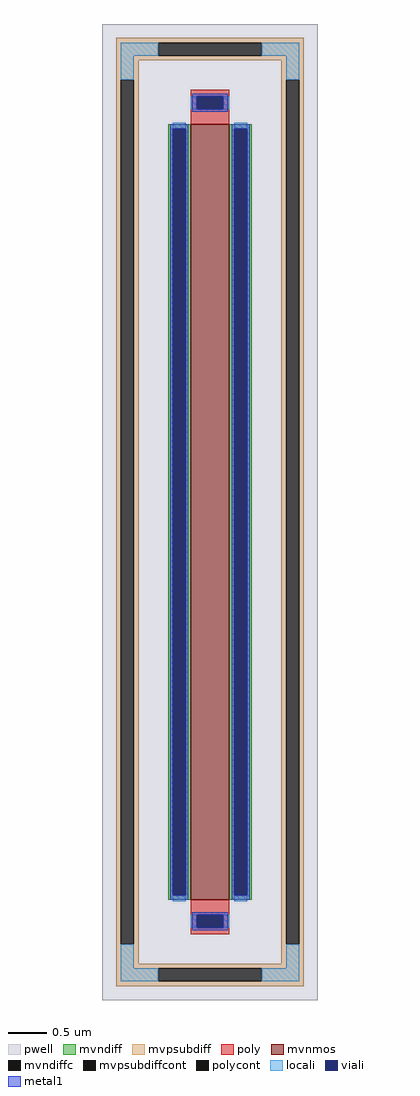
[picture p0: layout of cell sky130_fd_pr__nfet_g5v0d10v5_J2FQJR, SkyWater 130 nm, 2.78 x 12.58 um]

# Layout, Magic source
magic
tech sky130A
<< pwell >>
rect -139 -629 139 629
<< mvnmos >>
rect -25 -500 25 500
<< mvndiff >>
rect -54 494 -25 500
rect -54 -494 -48 494
rect -31 -494 -25 494
rect -54 -500 -25 -494
rect 25 494 54 500
rect 25 -494 31 494
rect 48 -494 54 494
rect 25 -500 54 -494
<< mvndiffc >>
rect -48 -494 -31 494
rect 31 -494 48 494
<< mvpsubdiff >>
rect -121 605 121 611
rect -121 588 -67 605
rect 67 588 121 605
rect -121 582 121 588
rect -121 557 -92 582
rect -121 -557 -115 557
rect -98 -557 -92 557
rect 92 557 121 582
rect -121 -582 -92 -557
rect 92 -557 98 557
rect 115 -557 121 557
rect 92 -582 121 -557
rect -121 -588 121 -582
rect -121 -605 -67 -588
rect 67 -605 121 -588
rect -121 -611 121 -605
<< mvpsubdiffcont >>
rect -67 588 67 605
rect -115 -557 -98 557
rect 98 -557 115 557
rect -67 -605 67 -588
<< poly >>
rect -25 536 25 544
rect -25 519 -17 536
rect 17 519 25 536
rect -25 500 25 519
rect -25 -519 25 -500
rect -25 -536 -17 -519
rect 17 -536 25 -519
rect -25 -544 25 -536
<< polycont >>
rect -17 519 17 536
rect -17 -536 17 -519
<< locali >>
rect -115 588 -67 605
rect 67 588 115 605
rect -115 557 -98 588
rect 98 557 115 588
rect -25 519 -17 536
rect 17 519 25 536
rect -48 494 -31 502
rect -48 -502 -31 -494
rect 31 494 48 502
rect 31 -502 48 -494
rect -25 -536 -17 -519
rect 17 -536 25 -519
rect -115 -588 -98 -557
rect 98 -588 115 -557
rect -115 -605 -67 -588
rect 67 -605 115 -588
<< viali >>
rect -17 519 17 536
rect -48 -494 -31 494
rect 31 -494 48 494
rect -17 -536 17 -519
<< metal1 >>
rect -23 536 23 539
rect -23 519 -17 536
rect 17 519 23 536
rect -23 516 23 519
rect -51 494 -28 500
rect -51 -494 -48 494
rect -31 -494 -28 494
rect -51 -500 -28 -494
rect 28 494 51 500
rect 28 -494 31 494
rect 48 -494 51 494
rect 28 -500 51 -494
rect -23 -519 23 -516
rect -23 -536 -17 -519
rect 17 -536 23 -519
rect -23 -539 23 -536
<< properties >>
string FIXED_BBOX -106 -596 106 596
string gencell sky130_fd_pr__nfet_g5v0d10v5
string library sky130
string parameters w 10.0 l 0.5 m 1 nf 1 diffcov 100 polycov 100 guard 1 glc 1 grc 1 gtc 1 gbc 1 tbcov 100 rlcov 100 topc 1 botc 1 poverlap 0 doverlap 1 lmin 0.50 wmin 0.42 compatible {sky130_fd_pr__nfet_01v8 sky130_fd_pr__nfet_01v8_lvt  sky130_fd_bs_flash__special_sonosfet_star  sky130_fd_pr__nfet_g5v0d10v5 sky130_fd_pr__nfet_05v0_nvt  sky130_fd_pr__nfet_03v3_nvt} full_metal 1 viasrc 100 viadrn 100 viagate 100 viagb 0 viagr 0 viagl 0 viagt 0
<< end >>
